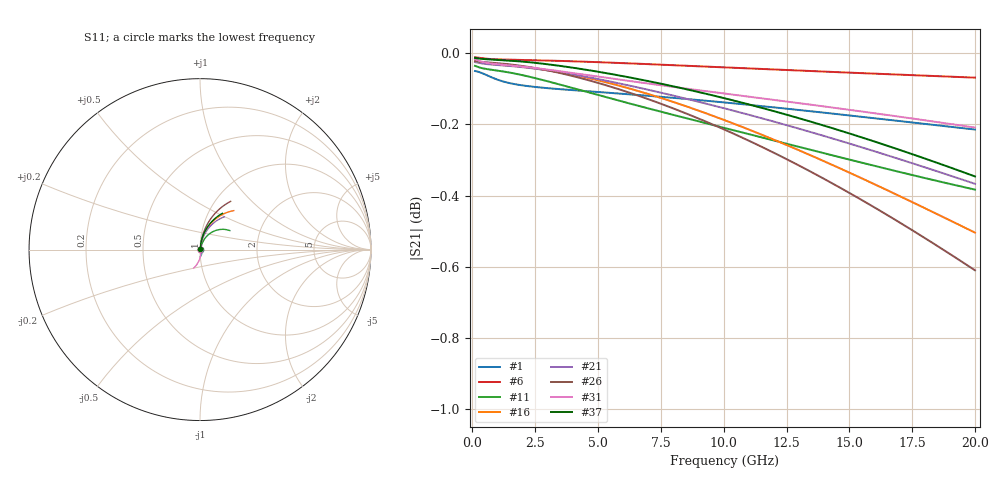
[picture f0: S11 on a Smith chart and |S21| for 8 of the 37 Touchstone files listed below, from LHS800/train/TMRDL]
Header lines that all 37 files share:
! Touchstone file exported from HFSS 2026.1.0
!  Design:  TMRDL
! Variables:
! Terminal data exported
# GHz S MA R 50.000000
Fixed: h_bsmrdl = 2um, h_ox = 20um, h_rdl = 5um, h_sub = 80um, h_tsv = 80um, h_via = 3um, l_bsmrdl = 300um, m_sub = 200um, r_tsv = 6um, s_tmrdl = 10um, w_bsmrdl = 18um, w_sub = 500um
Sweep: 100 MHz to 20 GHz
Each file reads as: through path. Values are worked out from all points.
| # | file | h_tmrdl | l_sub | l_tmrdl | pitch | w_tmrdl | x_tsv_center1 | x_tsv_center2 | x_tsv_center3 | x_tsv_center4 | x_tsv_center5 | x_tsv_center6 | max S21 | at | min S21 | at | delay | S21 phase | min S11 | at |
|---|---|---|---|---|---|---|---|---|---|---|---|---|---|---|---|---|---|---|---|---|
| 1 | dut700.s2p | 2.19um | 908.2um | 508.2um | 16.92um | 14.88um | 515.64um | 833.64um | 1356.72um | 1674.72um | 2197.8um | 2515.8um | -0.05 dB | 100 MHz | -0.2 dB | 20 GHz | 3.97 ps | -15 deg at 10.1 GHz | -44.8 dB | 100 MHz |
| 2 | dut701.s2p | 4.56um | 986.81um | 586.81um | 36.59um | 13.09um | 593.355um | 911.355um | 1511.255um | 1829.255um | 2429.155um | 2747.155um | -0.03 dB | 100 MHz | -0.8 dB | 20 GHz | 5.58 ps | -21 deg at 10.1 GHz | -47.2 dB | 100 MHz |
| 3 | dut702.s2p | 4.81um | 620.68um | 220.68um | 46.99um | 24.45um | 232.905um | 550.905um | 796.035um | 1114.035um | 1359.165um | 1677.165um | -0.01 dB | 100 MHz | -0.1 dB | 20 GHz | 2.29 ps | -8 deg at 10.1 GHz | -58.3 dB | 100 MHz |
| 4 | dut703.s2p | 5.49um | 552.36um | 152.36um | 38.8um | 22.91um | 163.815um | 481.815um | 657.085um | 975.085um | 1150.355um | 1468.355um | -0.01 dB | 100 MHz | -0.1 dB | 20 GHz | 1.5 ps | -6 deg at 10.1 GHz | -62.3 dB | 100 MHz |
| 5 | dut704.s2p | 3.16um | 1041.01um | 641.01um | 29.59um | 28.15um | 655.085um | 973.085um | 1642.245um | 1960.245um | 2629.405um | 2947.405um | -0.03 dB | 100 MHz | -0.5 dB | 20 GHz | 5.46 ps | -21 deg at 10.1 GHz | -50.6 dB | 100 MHz |
| 6 | dut705.s2p | 2.97um | 631.61um | 231.61um | 36.83um | 29.16um | 246.19um | 564.19um | 824.96um | 1142.96um | 1403.73um | 1721.73um | -0.01 dB | 100 MHz | -0.1 dB | 20 GHz | 2.02 ps | -7 deg at 10.1 GHz | -57.3 dB | 100 MHz |
| 7 | dut706.s2p | 4.59um | 846.05um | 446.05um | 41.64um | 14.64um | 453.37um | 771.37um | 1232.06um | 1550.06um | 2010.75um | 2328.75um | -0.02 dB | 100 MHz | -0.6 dB | 20 GHz | 4.52 ps | -17 deg at 10.1 GHz | -49.9 dB | 100 MHz |
| 8 | dut707.s2p | 4.49um | 1255.65um | 855.65um | 48.22um | 26.16um | 868.73um | 1186.73um | 2068.54um | 2386.54um | 3268.35um | 3586.35um | -0.02 dB | 100 MHz | -0.8 dB | 20 GHz | 7.4 ps | -28 deg at 10.1 GHz | -48.0 dB | 100 MHz |
| 9 | dut708.s2p | 5.4um | 1101.7um | 701.7um | 45.43um | 28.67um | 716.035um | 1034.035um | 1764.405um | 2082.405um | 2812.775um | 3130.775um | -0.02 dB | 100 MHz | -0.4 dB | 20 GHz | 5.92 ps | -22 deg at 10.1 GHz | -51.7 dB | 100 MHz |
| 10 | dut709.s2p | 2.25um | 840.19um | 440.19um | 35.18um | 25.22um | 452.8um | 770.8um | 1236.21um | 1554.21um | 2019.62um | 2337.62um | -0.03 dB | 100 MHz | -0.2 dB | 20 GHz | 3.81 ps | -14 deg at 10.1 GHz | -49.6 dB | 100 MHz |
| 11 | dut710.s2p | 5.76um | 1324.99um | 924.99um | 23.7um | 14.58um | 932.28um | 1250.28um | 2189.85um | 2507.85um | 3447.42um | 3765.42um | -0.04 dB | 100 MHz | -0.4 dB | 20 GHz | 7.17 ps | -27 deg at 10.1 GHz | -47.0 dB | 100 MHz |
| 12 | dut711.s2p | 2.88um | 580.43um | 180.43um | 59.73um | 19.54um | 190.2um | 508.2um | 708.17um | 1026.17um | 1226.14um | 1544.14um | -0.01 dB | 100 MHz | -0.3 dB | 20 GHz | 2.52 ps | -9 deg at 10.1 GHz | -54.6 dB | 100 MHz |
| 13 | dut712.s2p | 5.52um | 1137.09um | 737.09um | 26.09um | 18.21um | 746.195um | 1064.195um | 1819.495um | 2137.495um | 2892.795um | 3210.795um | -0.02 dB | 100 MHz | -0.2 dB | 20 GHz | 5.71 ps | -21 deg at 10.1 GHz | -50.3 dB | 100 MHz |
| 14 | dut713.s2p | 4.97um | 1067.06um | 667.06um | 38.5um | 17.54um | 675.83um | 993.83um | 1678.43um | 1996.43um | 2681.03um | 2999.03um | -0.02 dB | 100 MHz | -0.7 dB | 20 GHz | 5.97 ps | -23 deg at 10.1 GHz | -48.6 dB | 100 MHz |
| 15 | dut714.s2p | 4.8um | 1284.69um | 884.69um | 52.45um | 25.89um | 897.635um | 1215.635um | 2126.215um | 2444.215um | 3354.795um | 3672.795um | -0.02 dB | 100 MHz | -1.0 dB | 20 GHz | 7.74 ps | -30 deg at 10.1 GHz | -47.5 dB | 100 MHz |
| 16 | dut715.s2p | 3.16um | 989.63um | 589.63um | 50.52um | 28.96um | 604.11um | 922.11um | 1540.7um | 1858.7um | 2477.29um | 2795.29um | -0.02 dB | 100 MHz | -0.5 dB | 20 GHz | 5.43 ps | -20 deg at 10.1 GHz | -49.7 dB | 100 MHz |
| 17 | dut716.s2p | 5.94um | 1360.06um | 960.06um | 43.02um | 28.87um | 974.495um | 1292.495um | 2281.425um | 2599.425um | 3588.355um | 3906.355um | -0.02 dB | 100 MHz | -0.4 dB | 20 GHz | 7.7 ps | -29 deg at 10.1 GHz | -50.2 dB | 100 MHz |
| 18 | dut717.s2p | 5.02um | 816.78um | 416.78um | 29.21um | 20.91um | 427.235um | 745.235um | 1182.925um | 1500.925um | 1938.615um | 2256.615um | -0.01 dB | 100 MHz | -0.1 dB | 20 GHz | 3.35 ps | -12 deg at 10.1 GHz | -55.0 dB | 100 MHz |
| 19 | dut718.s2p | 3.35um | 1077.73um | 677.73um | 41.34um | 22.98um | 689.22um | 1007.22um | 1707.93um | 2025.93um | 2726.64um | 3044.64um | -0.03 dB | 100 MHz | -0.6 dB | 20 GHz | 6.02 ps | -23 deg at 10.1 GHz | -47.9 dB | 100 MHz |
| 20 | dut719.s2p | 2.95um | 1054.75um | 654.75um | 22.2um | 16.75um | 663.125um | 981.125um | 1652.625um | 1970.625um | 2642.125um | 2960.125um | -0.04 dB | 100 MHz | -0.2 dB | 20 GHz | 5.15 ps | -19 deg at 10.1 GHz | -46.0 dB | 100 MHz |
| 21 | dut720.s2p | 4.07um | 937.48um | 537.48um | 31.06um | 17.4um | 546.18um | 864.18um | 1419.06um | 1737.06um | 2291.94um | 2609.94um | -0.02 dB | 100 MHz | -0.4 dB | 20 GHz | 4.66 ps | -17 deg at 10.1 GHz | -49.7 dB | 100 MHz |
| 22 | dut721.s2p | 4.12um | 755.2um | 355.2um | 31.98um | 15.84um | 363.12um | 681.12um | 1052.16um | 1370.16um | 1741.2um | 2059.2um | -0.02 dB | 100 MHz | -0.3 dB | 20 GHz | 3.31 ps | -12 deg at 10.1 GHz | -52.3 dB | 100 MHz |
| 23 | dut722.s2p | 5.2um | 1223.17um | 823.17um | 21.72um | 11.46um | 828.9um | 1146.9um | 1981.53um | 2299.53um | 3134.16um | 3452.16um | -0.04 dB | 100 MHz | -0.5 dB | 20 GHz | 6.56 ps | -25 deg at 10.1 GHz | -45.4 dB | 100 MHz |
| 24 | dut723.s2p | 4.9um | 788.68um | 388.68um | 52.44um | 22.64um | 400um | 718um | 1129.32um | 1447.32um | 1858.64um | 2176.64um | -0.01 dB | 100 MHz | -0.4 dB | 20 GHz | 3.97 ps | -15 deg at 10.1 GHz | -53.1 dB | 100 MHz |
| 25 | dut725.s2p | 2.56um | 1328.03um | 928.03um | 40.37um | 25.9um | 940.98um | 1258.98um | 2212.91um | 2530.91um | 3484.84um | 3802.84um | -0.05 dB | 100 MHz | -0.7 dB | 20 GHz | 7.81 ps | -30 deg at 10.1 GHz | -44.6 dB | 100 MHz |
| 26 | dut726.s2p | 5.01um | 809.7um | 409.7um | 39.18um | 11.51um | 415.455um | 733.455um | 1154.665um | 1472.665um | 1893.875um | 2211.875um | -0.02 dB | 100 MHz | -0.6 dB | 20 GHz | 4.26 ps | -16 deg at 10.1 GHz | -49.7 dB | 100 MHz |
| 27 | dut727.s2p | 5.1um | 560.91um | 160.91um | 41.56um | 16.2um | 169.01um | 487.01um | 664.12um | 982.12um | 1159.23um | 1477.23um | -0.01 dB | 100 MHz | -0.1 dB | 20 GHz | 1.83 ps | -7 deg at 10.1 GHz | -58.9 dB | 100 MHz |
| 28 | dut728.s2p | 5.3um | 682.61um | 282.61um | 49.37um | 19.36um | 292.29um | 610.29um | 912.26um | 1230.26um | 1532.23um | 1850.23um | -0.01 dB | 100 MHz | -0.3 dB | 20 GHz | 3.04 ps | -11 deg at 10.1 GHz | -55.3 dB | 100 MHz |
| 29 | dut729.s2p | 4.71um | 591.22um | 191.22um | 58.99um | 24um | 203.22um | 521.22um | 736.44um | 1054.44um | 1269.66um | 1587.66um | -0.01 dB | 100 MHz | -0.2 dB | 20 GHz | 2.34 ps | -9 deg at 10.1 GHz | -57.8 dB | 100 MHz |
| 30 | dut730.s2p | 5.6um | 1281.38um | 881.38um | 37.95um | 20.22um | 891.49um | 1209.49um | 2111.09um | 2429.09um | 3330.69um | 3648.69um | -0.03 dB | 100 MHz | -0.7 dB | 20 GHz | 7.34 ps | -28 deg at 10.1 GHz | -48.1 dB | 100 MHz |
| 31 | dut731.s2p | 4.7um | 859.97um | 459.97um | 24.16um | 21.55um | 470.745um | 788.745um | 1270.265um | 1588.265um | 2069.785um | 2387.785um | -0.02 dB | 100 MHz | -0.2 dB | 20 GHz | 3.68 ps | -14 deg at 10.1 GHz | -54.5 dB | 100 MHz |
| 32 | dut732.s2p | 3.53um | 1338.27um | 938.27um | 34.05um | 17.8um | 947.17um | 1265.17um | 2221.24um | 2539.24um | 3495.31um | 3813.31um | -0.05 dB | 100 MHz | -0.9 dB | 20 GHz | 7.91 ps | -30 deg at 10.1 GHz | -44.1 dB | 100 MHz |
| 33 | dut733.s2p | 5.49um | 860.25um | 460.25um | 44.3um | 19.91um | 470.205um | 788.205um | 1268.365um | 1586.365um | 2066.525um | 2384.525um | -0.01 dB | 100 MHz | -0.4 dB | 20 GHz | 4.37 ps | -16 deg at 10.1 GHz | -52.4 dB | 100 MHz |
| 34 | dut734.s2p | 2.45um | 1176.98um | 776.98um | 40.78um | 20.81um | 787.385um | 1105.385um | 1903.175um | 2221.175um | 3018.965um | 3336.965um | -0.05 dB | 100 MHz | -0.9 dB | 20 GHz | 6.99 ps | -27 deg at 10.1 GHz | -44.0 dB | 100 MHz |
| 35 | dut735.s2p | 3.37um | 628.28um | 228.28um | 30.31um | 12.32um | 234.44um | 552.44um | 793.04um | 1111.04um | 1351.64um | 1669.64um | -0.02 dB | 100 MHz | -0.2 dB | 20 GHz | 2.38 ps | -9 deg at 10.1 GHz | -52.6 dB | 100 MHz |
| 36 | dut737.s2p | 5.27um | 1234.36um | 834.36um | 27.92um | 26.6um | 847.66um | 1165.66um | 2026.62um | 2344.62um | 3205.58um | 3523.58um | -0.02 dB | 100 MHz | -1.4 dB | 20 GHz | 7.51 ps | -29 deg at 10.1 GHz | -50.5 dB | 100 MHz |
| 37 | dut738.s2p | 4.12um | 833.68um | 433.68um | 53.93um | 29.65um | 448.505um | 766.505um | 1229.835um | 1547.835um | 2011.165um | 2329.165um | -0.01 dB | 100 MHz | -0.3 dB | 20 GHz | 4.17 ps | -16 deg at 10.1 GHz | -53.2 dB | 100 MHz |
